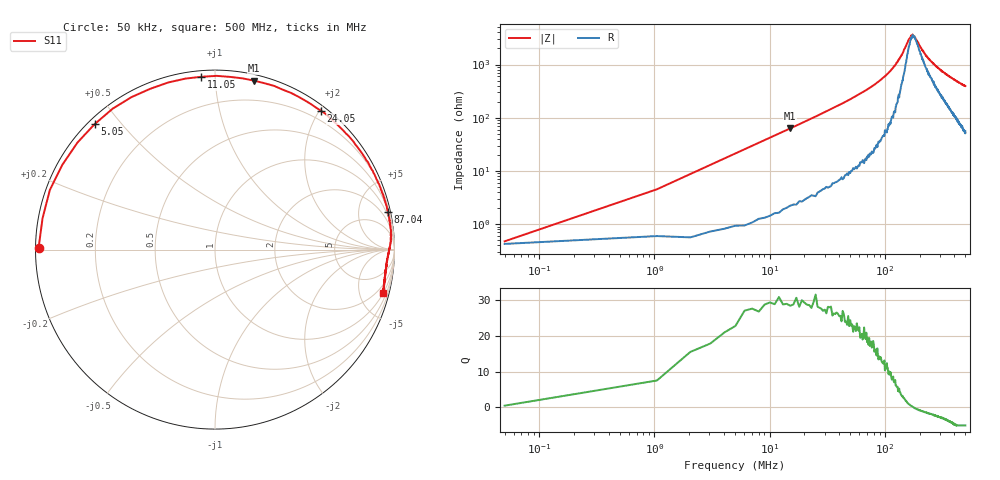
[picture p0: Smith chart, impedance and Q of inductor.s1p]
# MHz S MA R 50
!  freq  S11
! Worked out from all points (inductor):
!   501 points, 50 kHz to 500 MHz, reference 50 ohm
!   read as one part to ground: L = 676 nH near 2.05 MHz
!   highest Q = 28.8 at 15.05 MHz (marker M1), where L = 665 nH
!   self-resonance near 178.1 MHz
!   S11 on the Smith chart (normalised r, x): 50 kHz: 0.01, +0.00; 5.05 MHz: 0.02, +0.43; 11.05 MHz: 0.03, +0.92; 24.05 MHz: 0.07, +2.02; 87.04 MHz: 0.65, +9.34; 500 MHz: 1.11, -7.78
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0.05  0.9831 179.5
1.0499  0.9765 169.7
2.0498  0.9783 160.2
4.0496  0.971 142.1
5.0495  0.9687 133.9
6.0494  0.9704 126.0
8.0492  0.9658 111.9
9.0491  0.9669 105.6
11.0489  0.9659 94.5
13.0487  0.9658 85.0
15.0485  0.9661 76.9
17.0483  0.9696 70.1
19.0481  0.9702 64.2
24.0476  0.9733 52.6
27.0473  0.9738 47.3
31.0469  0.975 41.6
39.0461  0.9793 33.0
49.0451  0.9809 25.9
63.0437  0.9841 19.2
87.0413  0.9856 12.2
125.0375  0.9844 5.5
160.034  0.976 1.5
188.0312  0.9689 -0.8
250.025  0.9593 -4.3
313.0187  0.9574 -7.2
375.0125  0.9601 -9.8
438.0062  0.9643 -12.3
500  0.9653 -14.4
